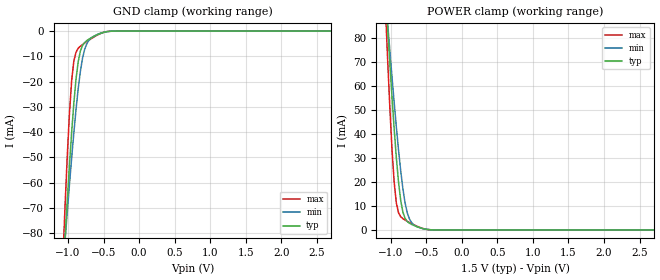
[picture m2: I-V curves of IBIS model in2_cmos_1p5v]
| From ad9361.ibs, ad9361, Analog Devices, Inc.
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|   Model: tx_input_1p5v
[Model]   in2_cmos_1p5v
Model_type Input
Vinl=0.3
Vinh=1.2
|   variable   typ   min   max
C_comp_power_clamp 9.393815E-13  9.045087E-13 1.105461E-12
C_comp_gnd_clamp   5.374554E-13 4.573817e-13 5.723049E-13
[C Comp Corner]
C_comp_power_clamp 9.393815E-13  1.105461E-12 9.045087E-13
C_comp_gnd_clamp   4.775800E-13 5.811745E-13 5.717391E-13
[Temperature Range]   25   85   -40
[Voltage Range]   1.5   1.14   1.86
[POWER Clamp Reference] 1.5   1.14   1.86
[GND Clamp Reference]   0   0   0
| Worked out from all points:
|   GND clamp passes 1 mA (typ) near -0.55 V on its own axis
|   POWER clamp passes 1 mA (typ) near -0.59 V on its own axis
[POWER_clamp]
| Voltage   I(typ)   I(min)   I(max)
-1.5V     331.3mA    269.7mA    432.3mA
-1.071V   99.26mA    97.51mA    92.08mA
-1.041V   84.06mA    85.98mA    70.82mA
-979.6mV  55.23mA    63.64mA    33.54mA
-949mV    42mA       52.98mA    19.81mA
-918.4mV  30.03mA    42.8mA     11.19mA
-857.1mV  12.27mA    24.6mA     5.503mA
-826.5mV  7.441mA    17.15mA    4.703mA
-734.7mV  2.813mA    4.584mA    3.121mA
-612.2mV  1.192mA    1.167mA    1.361mA
-398mV    30.62uA    37uA       24.37uA
3V        -1.479nA   -30.36nA   -52.22pA
[GND_clamp]
| Voltage   I(typ)   I(min)   I(max)
-1.5V     -326.9mA   -265.3mA   -428.3mA
-1.071V   -96.26mA   -93.95mA   -89.41mA
-1.041V   -81.22mA   -82.55mA   -68.41mA
-979.6mV  -52.82mA   -60.55mA   -32.25mA
-949mV    -39.93mA   -50.1mA    -19.49mA
-918.4mV  -28.43mA   -40.19mA   -11.85mA
-857.1mV  -12.07mA   -22.79mA   -6.821mA
-826.5mV  -7.885mA   -15.9mA    -5.978mA
-765.3mV  -4.469mA   -7.087mA   -4.699mA
-704.1mV  -3.151mA   -3.577mA   -3.535mA
-367.3mV  -23.96uA   -30.7uA    -14.78uA
3V        1.335nA    12.82nA    50.03pA
